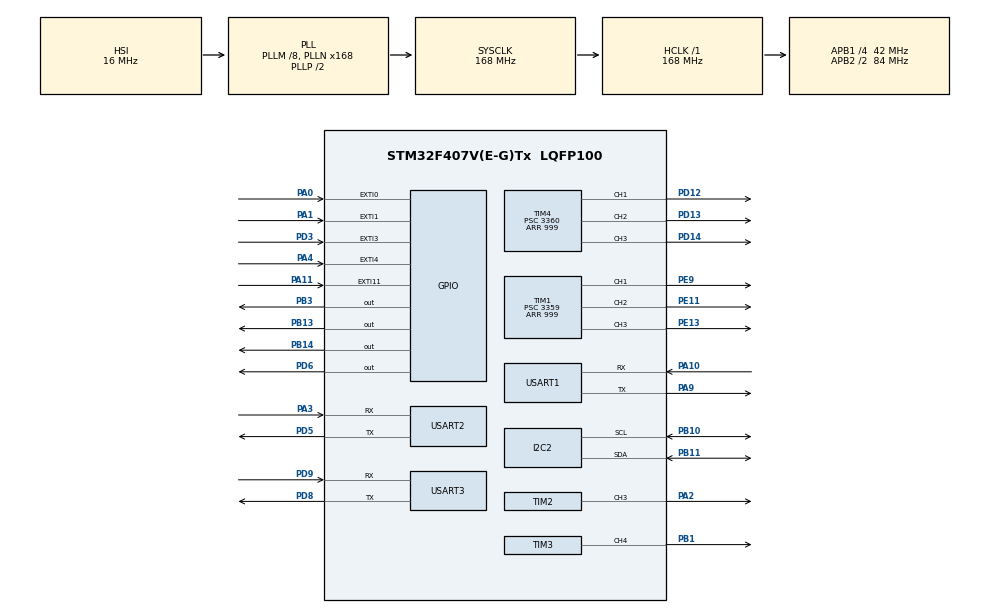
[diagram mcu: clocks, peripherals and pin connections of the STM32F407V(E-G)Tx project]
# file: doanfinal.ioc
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Dma.Request0=USART1_RX
Dma.Request1=USART2_RX
Dma.USART1_RX.0.Direction=DMA_PERIPH_TO_MEMORY
Dma.USART1_RX.0.FIFOMode=DMA_FIFOMODE_DISABLE
Dma.USART1_RX.0.Instance=DMA2_Stream2
Dma.USART1_RX.0.MemDataAlignment=DMA_MDATAALIGN_BYTE
Dma.USART1_RX.0.MemInc=DMA_MINC_ENABLE
Dma.USART1_RX.0.Mode=DMA_NORMAL
Dma.USART1_RX.0.PeriphDataAlignment=DMA_PDATAALIGN_BYTE
Dma.USART1_RX.0.PeriphInc=DMA_PINC_DISABLE
Dma.USART1_RX.0.Priority=DMA_PRIORITY_LOW
Dma.USART2_RX.1.Direction=DMA_PERIPH_TO_MEMORY
Dma.USART2_RX.1.FIFOMode=DMA_FIFOMODE_DISABLE
Dma.USART2_RX.1.Instance=DMA1_Stream5
Dma.USART2_RX.1.MemDataAlignment=DMA_MDATAALIGN_BYTE
Dma.USART2_RX.1.MemInc=DMA_MINC_ENABLE
Dma.USART2_RX.1.Mode=DMA_NORMAL
Dma.USART2_RX.1.PeriphDataAlignment=DMA_PDATAALIGN_BYTE
Dma.USART2_RX.1.PeriphInc=DMA_PINC_DISABLE
Dma.USART2_RX.1.Priority=DMA_PRIORITY_LOW
I2C2.I2C_Mode=I2C_Fast
Mcu.Family=STM32F4
Mcu.Name=STM32F407V(E-G)Tx
Mcu.Package=LQFP100
NVIC.DMA1_Stream5_IRQn=true\:0\:0\:false\:false\:true\:false\:true\:true
NVIC.DMA2_Stream2_IRQn=true\:0\:0\:false\:false\:true\:false\:true\:true
NVIC.EXTI0_IRQn=true\:0\:0\:false\:false\:true\:true\:true\:true
NVIC.EXTI15_10_IRQn=true\:0\:0\:false\:false\:true\:true\:true\:true
NVIC.EXTI1_IRQn=true\:0\:0\:false\:false\:true\:true\:true\:true
NVIC.EXTI3_IRQn=true\:0\:0\:false\:false\:true\:true\:true\:true
NVIC.EXTI4_IRQn=true\:0\:0\:false\:false\:true\:true\:true\:true
NVIC.I2C2_ER_IRQn=true\:0\:0\:false\:false\:true\:true\:true\:true
NVIC.I2C2_EV_IRQn=true\:0\:0\:false\:false\:true\:true\:true\:true
NVIC.PriorityGroup=NVIC_PRIORITYGROUP_4
NVIC.TIM1_BRK_TIM9_IRQn=true\:0\:0\:false\:false\:true\:true\:true\:true
NVIC.TIM2_IRQn=true\:0\:0\:false\:false\:true\:true\:true\:true
NVIC.TIM3_IRQn=true\:0\:0\:false\:false\:true\:true\:true\:true
NVIC.TIM5_IRQn=true\:0\:0\:false\:false\:true\:true\:true\:true
NVIC.TIM6_DAC_IRQn=true\:0\:0\:false\:false\:true\:true\:true\:true
NVIC.TIM7_IRQn=true\:0\:0\:false\:false\:true\:true\:true\:true
NVIC.TIM8_BRK_TIM12_IRQn=true\:0\:0\:false\:false\:true\:true\:true\:true
NVIC.TIM8_CC_IRQn=true\:0\:0\:false\:false\:true\:true\:true\:true
NVIC.TIM8_TRG_COM_TIM14_IRQn=true\:0\:0\:false\:false\:true\:true\:true\:true
NVIC.TIM8_UP_TIM13_IRQn=true\:0\:0\:false\:false\:true\:true\:true\:true
NVIC.USART1_IRQn=true\:0\:0\:false\:false\:true\:true\:true\:true
NVIC.USART2_IRQn=true\:0\:0\:false\:false\:true\:true\:true\:true
NVIC.USART3_IRQn=true\:0\:0\:false\:false\:true\:true\:true\:true
PA0-WKUP.GPIO_PuPd=GPIO_PULLUP
PA0-WKUP.Signal=GPXTI0
PA1.GPIO_PuPd=GPIO_PULLUP
PA1.Signal=GPXTI1
PA10.Mode=Asynchronous
PA10.Signal=USART1_RX
PA11.Signal=GPXTI11
PA13.Mode=Serial_Wire
PA13.Signal=SYS_JTMS-SWDIO
PA14.Mode=Serial_Wire
PA14.Signal=SYS_JTCK-SWCLK
PA2.Signal=S_TIM2_CH3
PA3.Mode=Asynchronous
PA3.Signal=USART2_RX
PA4.GPIO_PuPd=GPIO_PULLUP
PA4.Signal=GPXTI4
PA9.Mode=Asynchronous
PA9.Signal=USART1_TX
PB1.Signal=S_TIM3_CH4
PB10.Mode=I2C
PB10.Signal=I2C2_SCL
PB11.Mode=I2C
PB11.Signal=I2C2_SDA
PB13.GPIO_PuPd=GPIO_PULLUP
PB13.Signal=GPIO_Output
PB14.GPIO_PuPd=GPIO_PULLUP
PB14.Signal=GPIO_Output
PB3.GPIO_PuPd=GPIO_PULLUP
PB3.Signal=GPIO_Output
PC14-OSC32_IN.Mode=LSE-External-Oscillator
PC14-OSC32_IN.Signal=RCC_OSC32_IN
PC15-OSC32_OUT.Mode=LSE-External-Oscillator
PC15-OSC32_OUT.Signal=RCC_OSC32_OUT
PD12.Signal=S_TIM4_CH1
PD13.Signal=S_TIM4_CH2
PD14.Signal=S_TIM4_CH3
PD3.GPIO_PuPd=GPIO_PULLUP
PD3.Signal=GPXTI3
PD5.Mode=Asynchronous
PD5.Signal=USART2_TX
PD6.Signal=GPIO_Output
PD8.Mode=Asynchronous
PD8.Signal=USART3_TX
PD9.Mode=Asynchronous
PD9.Signal=USART3_RX
PE11.Signal=S_TIM1_CH2
PE13.Signal=S_TIM1_CH3
PE9.Signal=S_TIM1_CH1
PH0-OSC_IN.Mode=HSE-External-Oscillator
PH0-OSC_IN.Signal=RCC_OSC_IN
PH1-OSC_OUT.Mode=HSE-External-Oscillator
PH1-OSC_OUT.Signal=RCC_OSC_OUT
ProjectManager.HeapSize=0x200
ProjectManager.StackSize=0x400
ProjectManager.TargetToolchain=EWARM V8
RCC.48MHZClocksFreq_Value=84000000
RCC.AHBFreq_Value=168000000
RCC.APB1CLKDivider=RCC_HCLK_DIV4
RCC.APB1Freq_Value=42000000
RCC.APB1TimFreq_Value=84000000
RCC.APB2CLKDivider=RCC_HCLK_DIV2
RCC.APB2Freq_Value=84000000
RCC.APB2TimFreq_Value=168000000
RCC.CortexFreq_Value=168000000
RCC.HCLKFreq_Value=168000000
RCC.HSE_VALUE=25000000
RCC.HSI_VALUE=16000000
RCC.PLLM=8
RCC.PLLN=168
RCC.SYSCLKFreq_VALUE=168000000
RCC.SYSCLKSource=RCC_SYSCLKSOURCE_PLLCLK
RCC.VCOOutputFreq_Value=336000000
SH.S_TIM1_CH1.0=TIM1_CH1,PWM Generation1 CH1
SH.S_TIM1_CH2.0=TIM1_CH2,PWM Generation2 CH2
SH.S_TIM1_CH3.0=TIM1_CH3,PWM Generation3 CH3
SH.S_TIM2_CH3.0=TIM2_CH3,PWM Generation3 CH3
SH.S_TIM3_CH4.0=TIM3_CH4,PWM Generation4 CH4
SH.S_TIM4_CH1.0=TIM4_CH1,PWM Generation1 CH1
SH.S_TIM4_CH2.0=TIM4_CH2,PWM Generation2 CH2
SH.S_TIM4_CH3.0=TIM4_CH3,PWM Generation3 CH3
TIM1.AutoReloadPreload=TIM_AUTORELOAD_PRELOAD_ENABLE
TIM1.Channel-PWM\ Generation1\ CH1=TIM_CHANNEL_1
TIM1.Channel-PWM\ Generation2\ CH2=TIM_CHANNEL_2
TIM1.Channel-PWM\ Generation3\ CH3=TIM_CHANNEL_3
TIM1.Period=999
TIM1.Prescaler=3359
TIM2.AutoReloadPreload=TIM_AUTORELOAD_PRELOAD_ENABLE
TIM2.Channel-PWM\ Generation3\ CH3=TIM_CHANNEL_3
TIM2.Period=999
TIM2.Prescaler=167
TIM3.AutoReloadPreload=TIM_AUTORELOAD_PRELOAD_ENABLE
TIM3.Channel-PWM\ Generation4\ CH4=TIM_CHANNEL_4
TIM3.Period=999
TIM3.Prescaler=167
TIM4.AutoReloadPreload=TIM_AUTORELOAD_PRELOAD_ENABLE
TIM4.Channel-PWM\ Generation1\ CH1=TIM_CHANNEL_1
TIM4.Channel-PWM\ Generation2\ CH2=TIM_CHANNEL_2
TIM4.Channel-PWM\ Generation3\ CH3=TIM_CHANNEL_3
TIM4.Period=999
TIM4.Prescaler=3360
TIM5.AutoReloadPreload=TIM_AUTORELOAD_PRELOAD_ENABLE
TIM5.Period=999
TIM5.Prescaler=167
TIM6.AutoReloadPreload=TIM_AUTORELOAD_PRELOAD_ENABLE
TIM6.Period=999
TIM6.Prescaler=167
TIM7.AutoReloadPreload=TIM_AUTORELOAD_PRELOAD_ENABLE
TIM7.Period=999
TIM7.Prescaler=167
TIM8.AutoReloadPreload=TIM_AUTORELOAD_PRELOAD_ENABLE
TIM8.Period=999
TIM8.Prescaler=167
TIM9.AutoReloadPreload=TIM_AUTORELOAD_PRELOAD_ENABLE
TIM9.Period=999
TIM9.Prescaler=167
USART1.VirtualMode=VM_ASYNC
USART2.VirtualMode=VM_ASYNC
USART3.VirtualMode=VM_ASYNC
VP_TIM1_VS_ClockSourceINT.Mode=Internal
VP_TIM2_VS_ClockSourceINT.Mode=Internal
VP_TIM3_VS_ClockSourceINT.Mode=Internal
VP_TIM4_VS_ClockSourceINT.Mode=Internal
VP_TIM5_VS_ClockSourceINT.Mode=Internal
VP_TIM6_VS_ClockSourceINT.Mode=Enable_Timer
VP_TIM7_VS_ClockSourceINT.Mode=Enable_Timer
VP_TIM8_VS_ClockSourceINT.Mode=Internal
VP_TIM9_VS_ClockSourceINT.Mode=Internal
board=custom

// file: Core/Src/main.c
/* USER CODE BEGIN Header */
/**
  ******************************************************************************
  * @file           : main.c
  * @brief          : Main program body
  ******************************************************************************
  * @attention
  *
  * Copyright (c) 2023 STMicroelectronics.
  * All rights reserved.
  *
  * This software is licensed under terms that can be found in the LICENSE file
  * in the root directory of this software component.
  * If no LICENSE file comes with this software, it is provided AS-IS.
  *
  ******************************************************************************
  */
/* USER CODE END Header */
#include "main.h"

/* USER CODE BEGIN Includes */
#include "imu.h"
#include "stdio.h"
#include "stdlib.h"
#include "string.h"
#include "pid_function.h"
#include "read_encoder_data.h"

/* USER CODE END Includes */

I2C_HandleTypeDef hi2c2;

TIM_HandleTypeDef htim1;
TIM_HandleTypeDef htim2;
TIM_HandleTypeDef htim3;
TIM_HandleTypeDef htim4;
TIM_HandleTypeDef htim5;
TIM_HandleTypeDef htim6;
TIM_HandleTypeDef htim7;
TIM_HandleTypeDef htim8;
TIM_HandleTypeDef htim9;

UART_HandleTypeDef huart1;
UART_HandleTypeDef huart2;
UART_HandleTypeDef huart3;
DMA_HandleTypeDef hdma_usart1_rx;
DMA_HandleTypeDef hdma_usart2_rx;

/* USER CODE BEGIN PV */
typedef struct
{
  struct
  {
       struct
       {
          int16_t wheel[4];
       }speed;
  }rotary;
  struct
  {
       struct
       {
          int16_t wheel[4];
       }speed;
  }direction;
  struct
  {
          int16_t wheel[4];
  }speed_total;
  struct
  {
     int16_t wheel[4];
  }count;
}robot;
/* USER CODE END PV */

void SystemClock_Config(void);
static void MX_GPIO_Init(void);
static void MX_DMA_Init(void);
static void MX_I2C2_Init(void);
static void MX_TIM1_Init(void);
static void MX_TIM4_Init(void);
static void MX_USART1_UART_Init(void);
static void MX_USART2_UART_Init(void);
static void MX_TIM2_Init(void);
static void MX_USART3_UART_Init(void);
static void MX_TIM3_Init(void);
static void MX_TIM5_Init(void);
static void MX_TIM6_Init(void);
static void MX_TIM7_Init(void);
static void MX_TIM8_Init(void);
static void MX_TIM9_Init(void);

/* USER CODE BEGIN 0 */
uint8_t transbuff[]="iFACM: 2\n";
uint8_t buff1[12];
uint8_t buff2[12];

int16_t user;

pid PID;
pid PID_1;
pid PID_2;
robot Robot;
void HAL_UARTEx_RxEventCallback(UART_HandleTypeDef *huart, uint16_t Size)
{

 if(huart->Instance==USART2)
 {
     HAL_UARTEx_ReceiveToIdle_DMA(&huart2, buff2,sizeof(buff2));
     __HAL_DMA_DISABLE_IT(&hdma_usart2_rx, DMA_IT_HT);
 }
 if(huart->Instance==USART1)
 {
     HAL_UARTEx_ReceiveToIdle_DMA(&huart1, buff1,sizeof(buff1));
     __HAL_DMA_DISABLE_IT(&hdma_usart1_rx, DMA_IT_HT);
 }
}

void HAL_TIM_PeriodElapsedCallback(TIM_HandleTypeDef *htim)
{
  if (htim -> Instance == TIM2)
  {
    imu_return();
  }
  if (htim -> Instance == TIM3)
  {
//    if(buff1[0]==0x01 && (buff1[5] | buff1[4]) < 150)
//    {
//      user = -300;
//      buff1[5]=0;
//      buff1[4]=0;
//    }
//    if(buff1[0]==0x02 && (buff1[5] | buff1[4]) < 60)
//    {
//      user = 100;
//      buff1[5]=0;
//      buff1[4]=0;
//
//    }
//    if(buff1[0]==0x03 && (buff1[5] | buff1[4]) < 150)
//    {
//      htim1.Instance->CCR1 = 0;  //phai cuoi cung
//      htim1.Instance->CCR3 = 0;  //phai dau tien
//      htim4.Instance->CCR1 = 0;  //trai dau tien
//      htim4.Instance->CCR3 = 0;
//    }
  }
  if (htim -> Instance == TIM5)
  {

  }
  if (htim -> Instance == TIM6)
  {

  }
  if (htim -> Instance == TIM7)
  {

  }

}

void rotary_motor(uint8_t add, int16_t value)
{
    if(add == 1)
    {
      if(value<=0)
      {
        htim3.Instance->CCR4 = -value;
        HAL_GPIO_WritePin(GPIOB,GPIO_PIN_13,GPIO_PIN_SET);
        HAL_GPIO_WritePin(GPIOB,GPIO_PIN_14,GPIO_PIN_RESET);
      }
      else
      {
        htim3.Instance->CCR4 = value;
        HAL_GPIO_WritePin(GPIOB,GPIO_PIN_13,GPIO_PIN_RESET);
        HAL_GPIO_WritePin(GPIOB,GPIO_PIN_14,GPIO_PIN_SET);
      }
    }
    else if(add == 2)
    {
      if(value<=0)
      {
        htim2.Instance->CCR3 = -value;
        HAL_GPIO_WritePin(GPIOB,GPIO_PIN_3,GPIO_PIN_RESET);
        HAL_GPIO_WritePin(GPIOD,GPIO_PIN_6,GPIO_PIN_SET);
      }
      else
      {
        htim2.Instance->CCR3 = value;
        HAL_GPIO_WritePin(GPIOB,GPIO_PIN_3,GPIO_PIN_SET);
        HAL_GPIO_WritePin(GPIOD,GPIO_PIN_6,GPIO_PIN_RESET);
      }
    }
}

void rotary(int16_t value)
{
  if(value<0)
  {
    Robot.rotary.speed.wheel[0]=-0;
    Robot.rotary.speed.wheel[1]=-0;
    Robot.rotary.speed.wheel[2]=-0;
    Robot.rotary.speed.wheel[3]=0;
  }
  if(value>0)
  {
    Robot.rotary.speed.wheel[0]=0;
    Robot.rotary.speed.wheel[1]=0;
    Robot.rotary.speed.wheel[2]=0;
    Robot.rotary.speed.wheel[3]=0;
  }
}

void congtoc(void)
{
    Robot.speed_total.wheel[0]=Robot.rotary.speed.wheel[0]+Robot.direction.speed.wheel[0]; //phai cuoi cung
    Robot.speed_total.wheel[1]=Robot.rotary.speed.wheel[1]+Robot.direction.speed.wheel[1]; //phai cuoi cung
    Robot.speed_total.wheel[2]=Robot.rotary.speed.wheel[2]+Robot.direction.speed.wheel[2]; //phai cuoi cung
    Robot.speed_total.wheel[3]=Robot.rotary.speed.wheel[3]+Robot.direction.speed.wheel[3]; //phai cuoi cung
    htim1.Instance->CCR1 = Robot.speed_total.wheel[0];  //phai cuoi cung
    htim1.Instance->CCR3 = Robot.speed_total.wheel[1];  //phai dau tien
    htim4.Instance->CCR1 = Robot.speed_total.wheel[2];  //trai dau tien
    htim4.Instance->CCR3 = Robot.speed_total.wheel[3]; //trai cuoi cung
}
/* USER CODE END 0 */

int main(void)
{

  /* MCU Configuration--------------------------------------------------------*/

  /* Reset of all peripherals, Initializes the Flash interface and the Systick. */
  HAL_Init();

  /* Configure the system clock */
  SystemClock_Config();

  /* Initialize all configured peripherals */
  MX_GPIO_Init();
  MX_DMA_Init();
  MX_I2C2_Init();
  MX_TIM1_Init();
  MX_TIM4_Init();
  MX_USART1_UART_Init();
  MX_USART2_UART_Init();
  MX_TIM2_Init();
  MX_USART3_UART_Init();
  MX_TIM3_Init();
  MX_TIM5_Init();
  MX_TIM6_Init();
  MX_TIM7_Init();
  MX_TIM8_Init();
  MX_TIM9_Init();
  /* USER CODE BEGIN 2 */
  HAL_Delay(2000);
  HAL_GPIO_WritePin(GPIOB,GPIO_PIN_15,GPIO_PIN_SET);

  HAL_TIM_Base_Start_IT(&htim2);
  HAL_TIM_Base_Start_IT(&htim3);
  HAL_TIM_Base_Start_IT(&htim5);
  HAL_TIM_Base_Start_IT(&htim6);
  HAL_TIM_Base_Start_IT(&htim7);
  HAL_TIM_Base_Start_IT(&htim8);
  HAL_TIM_Base_Start_IT(&htim9);
  imu_init();
  imu_calib();
  imu_reset();
  HAL_UART_Transmit(&huart1,transbuff,strlen((const char *)transbuff),100);
  HAL_UART_Transmit(&huart2,transbuff,strlen((const char *)transbuff),100);
  HAL_UARTEx_ReceiveToIdle_DMA(&huart1, buff1,sizeof(buff1));
  __HAL_DMA_DISABLE_IT(&hdma_usart1_rx, DMA_IT_HT);
  HAL_UARTEx_ReceiveToIdle_DMA(&huart2, buff2,sizeof(buff2));
  __HAL_DMA_DISABLE_IT(&hdma_usart2_rx, DMA_IT_HT);

  HAL_TIM_PWM_Start(&htim1,TIM_CHANNEL_1);
  HAL_TIM_PWM_Start(&htim1,TIM_CHANNEL_2);
  HAL_TIM_PWM_Start(&htim1,TIM_CHANNEL_3);

  HAL_TIM_PWM_Start(&htim4,TIM_CHANNEL_1);
  HAL_TIM_PWM_Start(&htim4,TIM_CHANNEL_2);
  HAL_TIM_PWM_Start(&htim4,TIM_CHANNEL_3);

  HAL_TIM_PWM_Start(&htim3,TIM_CHANNEL_4);
  HAL_TIM_PWM_Start(&htim2,TIM_CHANNEL_3);

  htim1.Instance->CCR1=0;
  htim1.Instance->CCR2=0;
  htim1.Instance->CCR3=0;

  htim4.Instance->CCR1=0;
  htim4.Instance->CCR2=0;
  htim4.Instance->CCR3=0;

  PID_Init(&PID,0.01,2,1,0,-600,600);
  PID_Init(&PID_1,0.01,2,1,0.001,-999,999);
  PID_Init(&PID_2,0.01,2,1,0.001,-999,999);

  Robot.direction.speed.wheel[0]=730;
  Robot.direction.speed.wheel[1]=730;
  Robot.direction.speed.wheel[2]=730;
  Robot.direction.speed.wheel[3]=730;
  /* USER CODE END 2 */

  /* Infinite loop */
  while (1)
  {

    /* USER CODE BEGIN 3 */

    PID_Process_Basic(&PID,user, imu.integral);
    PID_Process_Basic(&PID_1,-PID.Output.Current, encoder_data.encoder_data[0]*3600/6000);
    PID_Process_Basic(&PID_2,-PID.Output.Current, encoder_data.encoder_data[2]*3600/6000);
    rotary((int16_t)PID.Output.Current);
    rotary_motor(1,(int16_t)PID_1.Output.Current);
    rotary_motor(2,(int16_t)PID_2.Output.Current);
    congtoc();
    HAL_Delay(1);
  }
  /* USER CODE END 3 */
}

void SystemClock_Config(void)
{
  RCC_OscInitTypeDef RCC_OscInitStruct = {0};
  RCC_ClkInitTypeDef RCC_ClkInitStruct = {0};

  /** Configure the main internal regulator output voltage
  */
  __HAL_RCC_PWR_CLK_ENABLE();
  __HAL_PWR_VOLTAGESCALING_CONFIG(PWR_REGULATOR_VOLTAGE_SCALE1);

  /** Initializes the RCC Oscillators according to the specified parameters
  * in the RCC_OscInitTypeDef structure.
  */
  RCC_OscInitStruct.OscillatorType = RCC_OSCILLATORTYPE_HSI;
  RCC_OscInitStruct.HSIState = RCC_HSI_ON;
  RCC_OscInitStruct.HSICalibrationValue = RCC_HSICALIBRATION_DEFAULT;
  RCC_OscInitStruct.PLL.PLLState = RCC_PLL_ON;
  RCC_OscInitStruct.PLL.PLLSource = RCC_PLLSOURCE_HSI;
  RCC_OscInitStruct.PLL.PLLM = 8;
  RCC_OscInitStruct.PLL.PLLN = 168;
  RCC_OscInitStruct.PLL.PLLP = RCC_PLLP_DIV2;
  RCC_OscInitStruct.PLL.PLLQ = 4;
  if (HAL_RCC_OscConfig(&RCC_OscInitStruct) != HAL_OK)
  {
    Error_Handler();
  }

  /** Initializes the CPU, AHB and APB buses clocks
  */
  RCC_ClkInitStruct.ClockType = RCC_CLOCKTYPE_HCLK|RCC_CLOCKTYPE_SYSCLK
                              |RCC_CLOCKTYPE_PCLK1|RCC_CLOCKTYPE_PCLK2;
  RCC_ClkInitStruct.SYSCLKSource = RCC_SYSCLKSOURCE_PLLCLK;
  RCC_ClkInitStruct.AHBCLKDivider = RCC_SYSCLK_DIV1;
  RCC_ClkInitStruct.APB1CLKDivider = RCC_HCLK_DIV4;
  RCC_ClkInitStruct.APB2CLKDivider = RCC_HCLK_DIV2;

  if (HAL_RCC_ClockConfig(&RCC_ClkInitStruct, FLASH_LATENCY_5) != HAL_OK)
  {
    Error_Handler();
  }
}

static void MX_I2C2_Init(void)
{

  hi2c2.Instance = I2C2;
  hi2c2.Init.ClockSpeed = 400000;
  hi2c2.Init.DutyCycle = I2C_DUTYCYCLE_2;
  hi2c2.Init.OwnAddress1 = 0;
  hi2c2.Init.AddressingMode = I2C_ADDRESSINGMODE_7BIT;
  hi2c2.Init.DualAddressMode = I2C_DUALADDRESS_DISABLE;
  hi2c2.Init.OwnAddress2 = 0;
  hi2c2.Init.GeneralCallMode = I2C_GENERALCALL_DISABLE;
  hi2c2.Init.NoStretchMode = I2C_NOSTRETCH_DISABLE;
  if (HAL_I2C_Init(&hi2c2) != HAL_OK)
  {
    Error_Handler();
  }

}

static void MX_TIM1_Init(void)
{

  TIM_ClockConfigTypeDef sClockSourceConfig = {0};
  TIM_MasterConfigTypeDef sMasterConfig = {0};
  TIM_OC_InitTypeDef sConfigOC = {0};
  TIM_BreakDeadTimeConfigTypeDef sBreakDeadTimeConfig = {0};

  htim1.Instance = TIM1;
  htim1.Init.Prescaler = 3359;
  htim1.Init.CounterMode = TIM_COUNTERMODE_UP;
  htim1.Init.Period = 999;
  htim1.Init.ClockDivision = TIM_CLOCKDIVISION_DIV1;
  htim1.Init.RepetitionCounter = 0;
  htim1.Init.AutoReloadPreload = TIM_AUTORELOAD_PRELOAD_ENABLE;
  if (HAL_TIM_Base_Init(&htim1) != HAL_OK)
  {
    Error_Handler();
  }
  sClockSourceConfig.ClockSource = TIM_CLOCKSOURCE_INTERNAL;
  if (HAL_TIM_ConfigClockSource(&htim1, &sClockSourceConfig) != HAL_OK)
  {
    Error_Handler();
  }
  if (HAL_TIM_PWM_Init(&htim1) != HAL_OK)
  {
    Error_Handler();
  }
  sMasterConfig.MasterOutputTrigger = TIM_TRGO_RESET;
  sMasterConfig.MasterSlaveMode = TIM_MASTERSLAVEMODE_DISABLE;
  if (HAL_TIMEx_MasterConfigSynchronization(&htim1, &sMasterConfig) != HAL_OK)
  {
    Error_Handler();
  }
  sConfigOC.OCMode = TIM_OCMODE_PWM1;
  sConfigOC.Pulse = 0;
  sConfigOC.OCPolarity = TIM_OCPOLARITY_HIGH;
  sConfigOC.OCNPolarity = TIM_OCNPOLARITY_HIGH;
  sConfigOC.OCFastMode = TIM_OCFAST_DISABLE;
  sConfigOC.OCIdleState = TIM_OCIDLESTATE_RESET;
  sConfigOC.OCNIdleState = TIM_OCNIDLESTATE_RESET;
  if (HAL_TIM_PWM_ConfigChannel(&htim1, &sConfigOC, TIM_CHANNEL_1) != HAL_OK)
  {
    Error_Handler();
  }
  if (HAL_TIM_PWM_ConfigChannel(&htim1, &sConfigOC, TIM_CHANNEL_2) != HAL_OK)
  {
    Error_Handler();
  }
  if (HAL_TIM_PWM_ConfigChannel(&htim1, &sConfigOC, TIM_CHANNEL_3) != HAL_OK)
  {
    Error_Handler();
  }
  sBreakDeadTimeConfig.OffStateRunMode = TIM_OSSR_DISABLE;
  sBreakDeadTimeConfig.OffStateIDLEMode = TIM_OSSI_DISABLE;
  sBreakDeadTimeConfig.LockLevel = TIM_LOCKLEVEL_OFF;
  sBreakDeadTimeConfig.DeadTime = 0;
  sBreakDeadTimeConfig.BreakState = TIM_BREAK_DISABLE;
  sBreakDeadTimeConfig.BreakPolarity = TIM_BREAKPOLARITY_HIGH;
  sBreakDeadTimeConfig.AutomaticOutput = TIM_AUTOMATICOUTPUT_DISABLE;
  if (HAL_TIMEx_ConfigBreakDeadTime(&htim1, &sBreakDeadTimeConfig) != HAL_OK)
  {
    Error_Handler();
  }
  HAL_TIM_MspPostInit(&htim1);

}

static void MX_TIM2_Init(void)
{

  TIM_ClockConfigTypeDef sClockSourceConfig = {0};
  TIM_MasterConfigTypeDef sMasterConfig = {0};
  TIM_OC_InitTypeDef sConfigOC = {0};

  htim2.Instance = TIM2;
  htim2.Init.Prescaler = 167;
  htim2.Init.CounterMode = TIM_COUNTERMODE_UP;
  htim2.Init.Period = 999;
  htim2.Init.ClockDivision = TIM_CLOCKDIVISION_DIV1;
  htim2.Init.AutoReloadPreload = TIM_AUTORELOAD_PRELOAD_ENABLE;
  if (HAL_TIM_Base_Init(&htim2) != HAL_OK)
  {
    Error_Handler();
  }
  sClockSourceConfig.ClockSource = TIM_CLOCKSOURCE_INTERNAL;
  if (HAL_TIM_ConfigClockSource(&htim2, &sClockSourceConfig) != HAL_OK)
  {
    Error_Handler();
  }
  if (HAL_TIM_PWM_Init(&htim2) != HAL_OK)
  {
    Error_Handler();
  }
  sMasterConfig.MasterOutputTrigger = TIM_TRGO_RESET;
  sMasterConfig.MasterSlaveMode = TIM_MASTERSLAVEMODE_DISABLE;
  if (HAL_TIMEx_MasterConfigSynchronization(&htim2, &sMasterConfig) != HAL_OK)
  {
    Error_Handler();
  }
  sConfigOC.OCMode = TIM_OCMODE_PWM1;
  sConfigOC.Pulse = 0;
  sConfigOC.OCPolarity = TIM_OCPOLARITY_HIGH;
  sConfigOC.OCFastMode = TIM_OCFAST_DISABLE;
  if (HAL_TIM_PWM_ConfigChannel(&htim2, &sConfigOC, TIM_CHANNEL_3) != HAL_OK)
  {
    Error_Handler();
  }
  HAL_TIM_MspPostInit(&htim2);

}

static void MX_TIM3_Init(void)
{

  TIM_ClockConfigTypeDef sClockSourceConfig = {0};
  TIM_MasterConfigTypeDef sMasterConfig = {0};
  TIM_OC_InitTypeDef sConfigOC = {0};

  htim3.Instance = TIM3;
  htim3.Init.Prescaler = 167;
  htim3.Init.CounterMode = TIM_COUNTERMODE_UP;
  htim3.Init.Period = 999;
  htim3.Init.ClockDivision = TIM_CLOCKDIVISION_DIV1;
  htim3.Init.AutoReloadPreload = TIM_AUTORELOAD_PRELOAD_ENABLE;
  if (HAL_TIM_Base_Init(&htim3) != HAL_OK)
  {
    Error_Handler();
  }
  sClockSourceConfig.ClockSource = TIM_CLOCKSOURCE_INTERNAL;
  if (HAL_TIM_ConfigClockSource(&htim3, &sClockSourceConfig) != HAL_OK)
  {
    Error_Handler();
  }
  if (HAL_TIM_PWM_Init(&htim3) != HAL_OK)
  {
    Error_Handler();
  }
  sMasterConfig.MasterOutputTrigger = TIM_TRGO_RESET;
  sMasterConfig.MasterSlaveMode = TIM_MASTERSLAVEMODE_DISABLE;
  if (HAL_TIMEx_MasterConfigSynchronization(&htim3, &sMasterConfig) != HAL_OK)
  {
    Error_Handler();
  }
  sConfigOC.OCMode = TIM_OCMODE_PWM1;
  sConfigOC.Pulse = 0;
  sConfigOC.OCPolarity = TIM_OCPOLARITY_HIGH;
  sConfigOC.OCFastMode = TIM_OCFAST_DISABLE;
  if (HAL_TIM_PWM_ConfigChannel(&htim3, &sConfigOC, TIM_CHANNEL_4) != HAL_OK)
  {
    Error_Handler();
  }
  HAL_TIM_MspPostInit(&htim3);

}

static void MX_TIM4_Init(void)
{

  TIM_ClockConfigTypeDef sClockSourceConfig = {0};
  TIM_MasterConfigTypeDef sMasterConfig = {0};
  TIM_OC_InitTypeDef sConfigOC = {0};

  htim4.Instance = TIM4;
  htim4.Init.Prescaler = 3360;
  htim4.Init.CounterMode = TIM_COUNTERMODE_UP;
  htim4.Init.Period = 999;
  htim4.Init.ClockDivision = TIM_CLOCKDIVISION_DIV1;
  htim4.Init.AutoReloadPreload = TIM_AUTORELOAD_PRELOAD_ENABLE;
  if (HAL_TIM_Base_Init(&htim4) != HAL_OK)
  {
    Error_Handler();
  }
  sClockSourceConfig.ClockSource = TIM_CLOCKSOURCE_INTERNAL;
  if (HAL_TIM_ConfigClockSource(&htim4, &sClockSourceConfig) != HAL_OK)
  {
    Error_Handler();
  }
  if (HAL_TIM_PWM_Init(&htim4) != HAL_OK)
  {
    Error_Handler();
  }
  sMasterConfig.MasterOutputTrigger = TIM_TRGO_RESET;
  sMasterConfig.MasterSlaveMode = TIM_MASTERSLAVEMODE_DISABLE;
  if (HAL_TIMEx_MasterConfigSynchronization(&htim4, &sMasterConfig) != HAL_OK)
  {
    Error_Handler();
  }
  sConfigOC.OCMode = TIM_OCMODE_PWM1;
  sConfigOC.Pulse = 0;
  sConfigOC.OCPolarity = TIM_OCPOLARITY_HIGH;
  sConfigOC.OCFastMode = TIM_OCFAST_DISABLE;
  if (HAL_TIM_PWM_ConfigChannel(&htim4, &sConfigOC, TIM_CHANNEL_1) != HAL_OK)
  {
    Error_Handler();
  }
  if (HAL_TIM_PWM_ConfigChannel(&htim4, &sConfigOC, TIM_CHANNEL_2) != HAL_OK)
  {
    Error_Handler();
  }
  if (HAL_TIM_PWM_ConfigChannel(&htim4, &sConfigOC, TIM_CHANNEL_3) != HAL_OK)
  {
    Error_Handler();
  }
  HAL_TIM_MspPostInit(&htim4);

}

static void MX_TIM5_Init(void)
{

  TIM_ClockConfigTypeDef sClockSourceConfig = {0};
  TIM_MasterConfigTypeDef sMasterConfig = {0};

  htim5.Instance = TIM5;
  htim5.Init.Prescaler = 167;
  htim5.Init.CounterMode = TIM_COUNTERMODE_UP;
  htim5.Init.Period = 999;
  htim5.Init.ClockDivision = TIM_CLOCKDIVISION_DIV1;
  htim5.Init.AutoReloadPreload = TIM_AUTORELOAD_PRELOAD_ENABLE;
  if (HAL_TIM_Base_Init(&htim5) != HAL_OK)
  {
    Error_Handler();
  }
  sClockSourceConfig.ClockSource = TIM_CLOCKSOURCE_INTERNAL;
  if (HAL_TIM_ConfigClockSource(&htim5, &sClockSourceConfig) != HAL_OK)
  {
    Error_Handler();
  }
  sMasterConfig.MasterOutputTrigger = TIM_TRGO_RESET;
  sMasterConfig.MasterSlaveMode = TIM_MASTERSLAVEMODE_DISABLE;
  if (HAL_TIMEx_MasterConfigSynchronization(&htim5, &sMasterConfig) != HAL_OK)
  {
    Error_Handler();
  }

}

static void MX_TIM6_Init(void)
{

  TIM_MasterConfigTypeDef sMasterConfig = {0};

  htim6.Instance = TIM6;
  htim6.Init.Prescaler = 167;
  htim6.Init.CounterMode = TIM_COUNTERMODE_UP;
  htim6.Init.Period = 999;
  htim6.Init.AutoReloadPreload = TIM_AUTORELOAD_PRELOAD_ENABLE;
  if (HAL_TIM_Base_Init(&htim6) != HAL_OK)
  {
    Error_Handler();
  }
  sMasterConfig.MasterOutputTrigger = TIM_TRGO_RESET;
  sMasterConfig.MasterSlaveMode = TIM_MASTERSLAVEMODE_DISABLE;
  if (HAL_TIMEx_MasterConfigSynchronization(&htim6, &sMasterConfig) != HAL_OK)
  {
    Error_Handler();
  }

}

static void MX_TIM7_Init(void)
{

  TIM_MasterConfigTypeDef sMasterConfig = {0};

  htim7.Instance = TIM7;
  htim7.Init.Prescaler = 167;
  htim7.Init.CounterMode = TIM_COUNTERMODE_UP;
  htim7.Init.Period = 999;
  htim7.Init.AutoReloadPreload = TIM_AUTORELOAD_PRELOAD_ENABLE;
  if (HAL_TIM_Base_Init(&htim7) != HAL_OK)
  {
    Error_Handler();
  }
  sMasterConfig.MasterOutputTrigger = TIM_TRGO_RESET;
  sMasterConfig.MasterSlaveMode = TIM_MASTERSLAVEMODE_DISABLE;
  if (HAL_TIMEx_MasterConfigSynchronization(&htim7, &sMasterConfig) != HAL_OK)
  {
    Error_Handler();
  }

}

static void MX_TIM8_Init(void)
{

  TIM_ClockConfigTypeDef sClockSourceConfig = {0};
  TIM_MasterConfigTypeDef sMasterConfig = {0};

  htim8.Instance = TIM8;
  htim8.Init.Prescaler = 167;
  htim8.Init.CounterMode = TIM_COUNTERMODE_UP;
  htim8.Init.Period = 999;
  htim8.Init.ClockDivision = TIM_CLOCKDIVISION_DIV1;
  htim8.Init.RepetitionCounter = 0;
  htim8.Init.AutoReloadPreload = TIM_AUTORELOAD_PRELOAD_ENABLE;
  if (HAL_TIM_Base_Init(&htim8) != HAL_OK)
  {
    Error_Handler();
  }
  sClockSourceConfig.ClockSource = TIM_CLOCKSOURCE_INTERNAL;
  if (HAL_TIM_ConfigClockSource(&htim8, &sClockSourceConfig) != HAL_OK)
  {
    Error_Handler();
  }
  sMasterConfig.MasterOutputTrigger = TIM_TRGO_RESET;
  sMasterConfig.MasterSlaveMode = TIM_MASTERSLAVEMODE_DISABLE;
  if (HAL_TIMEx_MasterConfigSynchronization(&htim8, &sMasterConfig) != HAL_OK)
  {
    Error_Handler();
  }

}

static void MX_TIM9_Init(void)
{

  TIM_ClockConfigTypeDef sClockSourceConfig = {0};

  htim9.Instance = TIM9;
  htim9.Init.Prescaler = 167;
  htim9.Init.CounterMode = TIM_COUNTERMODE_UP;
  htim9.Init.Period = 999;
  htim9.Init.ClockDivision = TIM_CLOCKDIVISION_DIV1;
  htim9.Init.AutoReloadPreload = TIM_AUTORELOAD_PRELOAD_ENABLE;
  if (HAL_TIM_Base_Init(&htim9) != HAL_OK)
  {
    Error_Handler();
  }
  sClockSourceConfig.ClockSource = TIM_CLOCKSOURCE_INTERNAL;
  if (HAL_TIM_ConfigClockSource(&htim9, &sClockSourceConfig) != HAL_OK)
  {
    Error_Handler();
  }

}

static void MX_USART1_UART_Init(void)
{

  huart1.Instance = USART1;
  huart1.Init.BaudRate = 115200;
  huart1.Init.WordLength = UART_WORDLENGTH_8B;
  huart1.Init.StopBits = UART_STOPBITS_1;
  huart1.Init.Parity = UART_PARITY_NONE;
  huart1.Init.Mode = UART_MODE_TX_RX;
  huart1.Init.HwFlowCtl = UART_HWCONTROL_NONE;
  huart1.Init.OverSampling = UART_OVERSAMPLING_16;
  if (HAL_UART_Init(&huart1) != HAL_OK)
  {
    Error_Handler();
  }

}

static void MX_USART2_UART_Init(void)
{

  huart2.Instance = USART2;
  huart2.Init.BaudRate = 115200;
  huart2.Init.WordLength = UART_WORDLENGTH_8B;
  huart2.Init.StopBits = UART_STOPBITS_1;
  huart2.Init.Parity = UART_PARITY_NONE;
  huart2.Init.Mode = UART_MODE_TX_RX;
  huart2.Init.HwFlowCtl = UART_HWCONTROL_NONE;
  huart2.Init.OverSampling = UART_OVERSAMPLING_16;
  if (HAL_UART_Init(&huart2) != HAL_OK)
  {
    Error_Handler();
  }

}

static void MX_USART3_UART_Init(void)
{

  huart3.Instance = USART3;
  huart3.Init.BaudRate = 115200;
  huart3.Init.WordLength = UART_WORDLENGTH_8B;
  huart3.Init.StopBits = UART_STOPBITS_1;
  huart3.Init.Parity = UART_PARITY_NONE;
  huart3.Init.Mode = UART_MODE_TX_RX;
  huart3.Init.HwFlowCtl = UART_HWCONTROL_NONE;
  huart3.Init.OverSampling = UART_OVERSAMPLING_16;
  if (HAL_UART_Init(&huart3) != HAL_OK)
  {
    Error_Handler();
  }

}

static void MX_DMA_Init(void)
{

  /* DMA controller clock enable */
  __HAL_RCC_DMA2_CLK_ENABLE();
  __HAL_RCC_DMA1_CLK_ENABLE();

  /* DMA interrupt init */
  /* DMA1_Stream5_IRQn interrupt configuration */
  HAL_NVIC_SetPriority(DMA1_Stream5_IRQn, 0, 0);
  HAL_NVIC_EnableIRQ(DMA1_Stream5_IRQn);
  /* DMA2_Stream2_IRQn interrupt configuration */
  HAL_NVIC_SetPriority(DMA2_Stream2_IRQn, 0, 0);
  HAL_NVIC_EnableIRQ(DMA2_Stream2_IRQn);

}

static void MX_GPIO_Init(void)
{
  GPIO_InitTypeDef GPIO_InitStruct = {0};

  /* GPIO Ports Clock Enable */
  __HAL_RCC_GPIOC_CLK_ENABLE();
  __HAL_RCC_GPIOH_CLK_ENABLE();
  __HAL_RCC_GPIOA_CLK_ENABLE();
  __HAL_RCC_GPIOB_CLK_ENABLE();
  __HAL_RCC_GPIOE_CLK_ENABLE();
  __HAL_RCC_GPIOD_CLK_ENABLE();

  /*Configure GPIO pin Output Level */
  HAL_GPIO_WritePin(GPIOB, GPIO_PIN_13|GPIO_PIN_14|GPIO_PIN_3, GPIO_PIN_RESET);

  /*Configure GPIO pin Output Level */
  HAL_GPIO_WritePin(GPIOD, GPIO_PIN_6, GPIO_PIN_RESET);

  /*Configure GPIO pins : PA0 PA1 PA4 */
  GPIO_InitStruct.Pin = GPIO_PIN_0|GPIO_PIN_1|GPIO_PIN_4;
  GPIO_InitStruct.Mode = GPIO_MODE_IT_RISING;
  GPIO_InitStruct.Pull = GPIO_PULLUP;
  HAL_GPIO_Init(GPIOA, &GPIO_InitStruct);

  /*Configure GPIO pins : PB13 PB14 PB3 */
  GPIO_InitStruct.Pin = GPIO_PIN_13|GPIO_PIN_14|GPIO_PIN_3;
  GPIO_InitStruct.Mode = GPIO_MODE_OUTPUT_PP;
  GPIO_InitStruct.Pull = GPIO_PULLUP;
  GPIO_InitStruct.Speed = GPIO_SPEED_FREQ_LOW;
  HAL_GPIO_Init(GPIOB, &GPIO_InitStruct);

  /*Configure GPIO pin : PA11 */
  GPIO_InitStruct.Pin = GPIO_PIN_11;
  GPIO_InitStruct.Mode = GPIO_MODE_IT_RISING;
  GPIO_InitStruct.Pull = GPIO_NOPULL;
  HAL_GPIO_Init(GPIOA, &GPIO_InitStruct);

  /*Configure GPIO pin : PD3 */
  GPIO_InitStruct.Pin = GPIO_PIN_3;
  GPIO_InitStruct.Mode = GPIO_MODE_IT_RISING;
  GPIO_InitStruct.Pull = GPIO_PULLUP;
  HAL_GPIO_Init(GPIOD, &GPIO_InitStruct);

  /*Configure GPIO pin : PD6 */
  GPIO_InitStruct.Pin = GPIO_PIN_6;
  GPIO_InitStruct.Mode = GPIO_MODE_OUTPUT_PP;
  GPIO_InitStruct.Pull = GPIO_NOPULL;
  GPIO_InitStruct.Speed = GPIO_SPEED_FREQ_LOW;
  HAL_GPIO_Init(GPIOD, &GPIO_InitStruct);

  /* EXTI interrupt init*/
  HAL_NVIC_SetPriority(EXTI0_IRQn, 0, 0);
  HAL_NVIC_EnableIRQ(EXTI0_IRQn);

  HAL_NVIC_SetPriority(EXTI1_IRQn, 0, 0);
  HAL_NVIC_EnableIRQ(EXTI1_IRQn);

  HAL_NVIC_SetPriority(EXTI3_IRQn, 0, 0);
  HAL_NVIC_EnableIRQ(EXTI3_IRQn);

  HAL_NVIC_SetPriority(EXTI4_IRQn, 0, 0);
  HAL_NVIC_EnableIRQ(EXTI4_IRQn);

  HAL_NVIC_SetPriority(EXTI15_10_IRQn, 0, 0);
  HAL_NVIC_EnableIRQ(EXTI15_10_IRQn);

}

void Error_Handler(void)
{
  __disable_irq();
  while (1)
  {
  }
}
